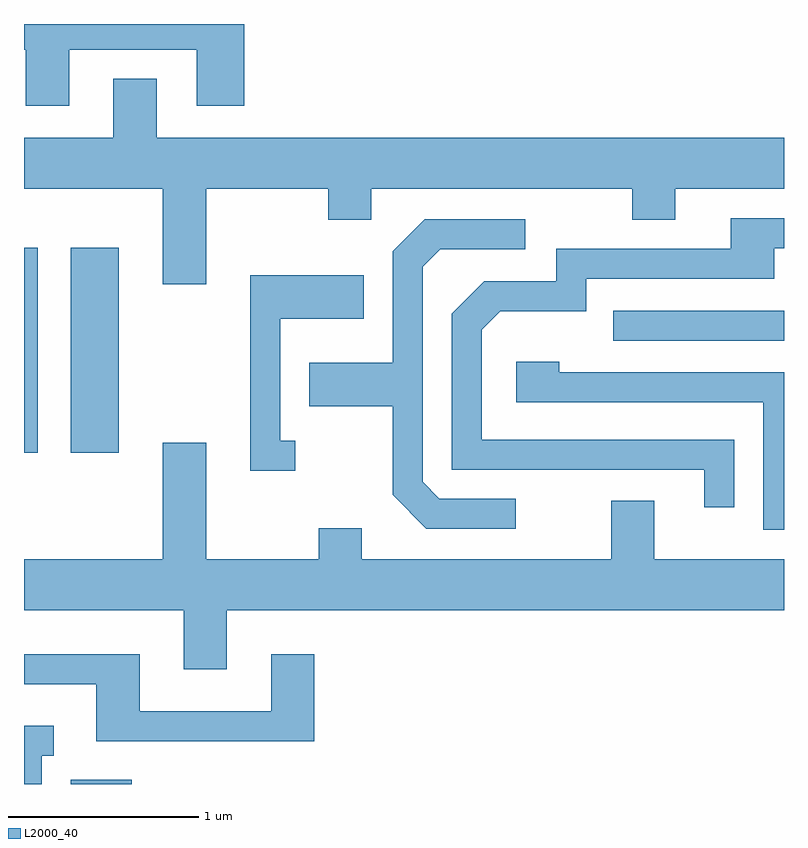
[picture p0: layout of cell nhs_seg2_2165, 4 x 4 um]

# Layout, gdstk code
import gdstk
lib = gdstk.Library(unit=1e-6, precision=1e-09)
def R(c, l, rs):  # rectangles x0, y0, x1, y1
    for r in rs: c.add(gdstk.rectangle(r[:2], r[2:], *l))
def P(c, l, *ps):  # polygons
    for p in ps: c.add(gdstk.Polygon(p, *l))
L2000_40 = (2000, 40)

nhs_seg2_2165 = lib.new_cell('nhs_seg2_2165')
R(nhs_seg2_2165, L2000_40, [(247.856,1091.802,248.179,1091.824), (247.611,1093.546,247.684,1094.624), (247.856,1093.546,248.109,1094.624), (250.713,1094.136,251.611,1094.294)])
P(nhs_seg2_2165, L2000_40, [(247.849,1095.666),(248.521,1095.666),(248.521,1095.371),(248.769,1095.371),(248.769,1095.802),(247.611,1095.802),(247.611,1095.666),(247.621,1095.666),(247.621,1095.371),(247.849,1095.371)],
  [(248.569,1094.936),(249.211,1094.936),(249.211,1094.771),(249.439,1094.771),(249.439,1094.936),(250.811,1094.936),(250.811,1094.771),(251.039,1094.771),(251.039,1094.936),(251.611,1094.936),(251.611,1095.204),(248.309,1095.204),(248.309,1095.514),(248.081,1095.514),(248.081,1095.204),(247.611,1095.204),(247.611,1094.936),(248.341,1094.936),(248.341,1094.431),(248.569,1094.431)],
  [(251.349,1093.614),(250.019,1093.614),(250.019,1094.194),(250.117,1094.291),(250.569,1094.291),(250.569,1094.461),(251.559,1094.461),(251.559,1094.621),(251.611,1094.621),(251.611,1094.779),(251.331,1094.779),(251.331,1094.619),(250.411,1094.619),(250.411,1094.449),(250.034,1094.449),(249.861,1094.277),(249.861,1093.456),(251.191,1093.456),(251.191,1093.258),(251.349,1093.258)],
  [(250.198,1093.304),(249.797,1093.304),(249.709,1093.392),(249.709,1094.524),(249.802,1094.616),(250.248,1094.616),(250.248,1094.774),(249.719,1094.774),(249.551,1094.607),(249.551,1094.019),(249.111,1094.019),(249.111,1093.791),(249.551,1093.791),(249.551,1093.324),(249.729,1093.146),(250.198,1093.146)],
  [(249.038,1093.609),(248.959,1093.609),(248.959,1094.251),(249.399,1094.251),(249.399,1094.479),(248.801,1094.479),(248.801,1093.451),(249.038,1093.451)],
  [(251.611,1093.969),(250.429,1093.969),(250.429,1094.024),(250.201,1094.024),(250.201,1093.811),(251.501,1093.811),(251.501,1093.141),(251.611,1093.141)],
  [(248.679,1092.716),(251.611,1092.716),(251.611,1092.984),(250.929,1092.984),(250.929,1093.294),(250.701,1093.294),(250.701,1092.984),(249.389,1092.984),(249.389,1093.149),(249.161,1093.149),(249.161,1092.984),(248.569,1092.984),(248.569,1093.599),(248.341,1093.599),(248.341,1092.984),(247.611,1092.984),(247.611,1092.716),(248.451,1092.716),(248.451,1092.406),(248.679,1092.406)],
  [(249.139,1092.484),(248.911,1092.484),(248.911,1092.184),(248.219,1092.184),(248.219,1092.484),(247.611,1092.484),(247.611,1092.326),(247.991,1092.326),(247.991,1092.026),(249.139,1092.026)],
  [(247.704,1091.951),(247.768,1091.951),(247.768,1092.109),(247.611,1092.109),(247.611,1091.802),(247.704,1091.802)])

lib.write_gds('nhs_seg2_2165.gds')
